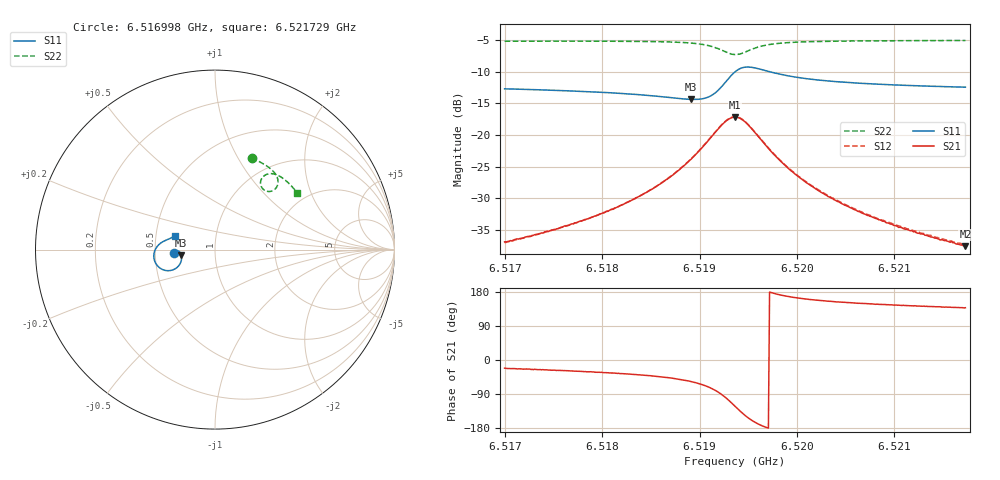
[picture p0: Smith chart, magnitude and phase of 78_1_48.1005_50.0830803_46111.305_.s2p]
#  HZ  S  RI  R  50.00
! Rohde & Schwarz Vector Network Analyzer
! Rohde-Schwarz,ZNB20-2Port,1311601062101988,3.16
! Created: UTC 12/23/2023, 3:42:28 AM
! freq[Hz]  re:S11  im:S11  re:S21  im:S21  re:S12  im:S12  re:S22  im:S22
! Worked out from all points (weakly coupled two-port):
!   401 points, 6.516998 GHz to 6.521729 GHz, reference 50 ohm
!   highest |S21| = -17.19 dB at 6.519363 GHz (marker M1); lowest = -37.5 dB at 6.521729 GHz (marker M2)
!   lowest |S11| = -14.4 dB at 6.518914 GHz (marker M3), VSWR 1.47, Z = 34.1 - j2.22 ohm
!   |S11| at or under -10 dB: start of sweep to 6.519368 GHz; 6.519712 GHz to end of sweep
!   |S22| runs from -7.3 to -5.1 dB; largest |S21 - S12| = 0.0043
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6.5169978e9  -0.2304 -0.0172  0.0133 -0.00526  0.0133 -0.00482  0.2034 0.5092
6.5173644e9  -0.2265 -0.0119  0.0151 -0.00713  0.0152 -0.00673  0.2305 0.4981
6.5177902e9  -0.2205 -0.00681  0.0182 -0.0106  0.0184 -0.00997  0.2619 0.4821
6.5181332e9  -0.2138 -0.00487  0.0218 -0.0151  0.0223 -0.0146  0.2876 0.4664
6.5183816e9  -0.2076 -0.00575  0.0254 -0.0207  0.0261 -0.0201  0.3066 0.4524
6.5185827e9  -0.2009 -0.00954  0.0292 -0.0281  0.0302 -0.0272  0.3226 0.4382
6.5187483e9  -0.1946 -0.0167  0.0326 -0.0377  0.0339 -0.037  0.3354 0.4227
6.5189139e9  -0.188 -0.0314  0.0352 -0.054  0.0371 -0.0534  0.3469 0.4012
6.5190322e9  -0.1863 -0.0505  0.0333 -0.0732  0.0358 -0.0727  0.3513 0.3795
6.5191268e9  -0.1923 -0.0739  0.0245 -0.0947  0.0275 -0.0945  0.3476 0.3567
6.5192687e9  -0.2367 -0.1135  -0.0214 -0.1264  -0.0178 -0.1279  0.3132 0.3253
6.5193634e9  -0.2945 -0.11  -0.073 -0.1173  -0.0703 -0.1202  0.2732 0.3326
6.5194107e9  -0.3196 -0.0913  -0.0935 -0.0984  -0.0914 -0.1016  0.2591 0.3488
6.5194698e9  -0.3373 -0.0598  -0.1058 -0.0688  -0.1044 -0.0723  0.2535 0.3732
6.5195763e9  -0.3365 -0.00934  -0.0994 -0.0258  -0.0994 -0.0288  0.2679 0.4062
6.5196827e9  -0.32 0.0201  -0.082 -0.00329  -0.0827 -0.0056  0.2909 0.4202
6.5199193e9  -0.288 0.0456  -0.0523 0.012  -0.0533 0.0106  0.3316 0.4206
6.5201558e9  -0.2689 0.0543  -0.0367 0.014  -0.0375 0.013  0.3588 0.4096
6.5205107e9  -0.2523 0.0612  -0.0243 0.0131  -0.0249 0.0125  0.3883 0.3895
6.5209483e9  -0.2397 0.0676  -0.0165 0.0113  -0.0172 0.0109  0.417 0.3639
6.5214451e9  -0.2295 0.0745  -0.0117 0.00964  -0.0122 0.00964  0.4438 0.3336
6.521729e9  -0.2247 0.0784  -0.00984 0.00889  -0.0104 0.00889  0.4576 0.3159
